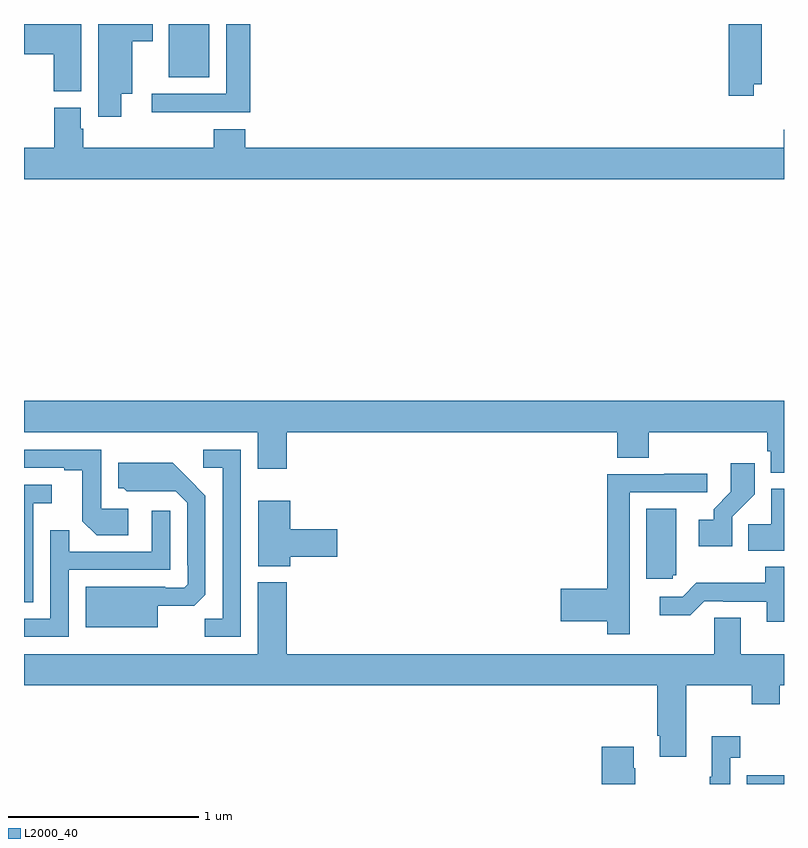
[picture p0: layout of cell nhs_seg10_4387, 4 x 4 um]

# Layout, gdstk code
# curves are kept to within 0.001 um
import gdstk
lib = gdstk.Library(unit=1e-6, precision=1e-09)
def R(c, l, rs):  # rectangles x0, y0, x1, y1
    for r in rs: c.add(gdstk.rectangle(r[:2], r[2:], *l))
def P(c, l, *ps):  # polygons
    for p in ps: c.add(gdstk.Polygon(p, *l))
L2000_40 = (2000, 40)

nhs_seg10_4387 = lib.new_cell('nhs_seg10_4387')
R(nhs_seg10_4387, L2000_40, [(362.803,1262.5,363,1262.547), (359.762,1266.221,359.974,1266.5)])
P(nhs_seg10_4387, L2000_40, [(359.512,1266.134),(359.569,1266.134),(359.569,1266.41),(359.677,1266.41),(359.677,1266.5),(359.39,1266.5),(359.39,1266.012),(359.512,1266.012)],
  [(359.302,1266.5),(359,1266.5),(359,1266.341),(359.156,1266.341),(359.156,1266.145),(359.302,1266.145)],
  [(362.842,1266.182),(362.883,1266.182),(362.883,1266.5),(362.708,1266.5),(362.708,1266.123),(362.842,1266.123)],
  [(360.191,1266.5),(360.065,1266.5),(360.065,1266.132),(359.673,1266.132),(359.673,1266.035),(360.191,1266.035)],
  [(363,1265.944),(362.999,1265.944),(362.999,1265.848),(360.164,1265.848),(360.164,1265.947),(359.999,1265.947),(359.999,1265.848),(359.312,1265.848),(359.312,1265.949),(359.299,1265.949),(359.299,1266.06),(359.159,1266.06),(359.159,1265.848),(359,1265.848),(359,1265.684),(363,1265.684)],
  [(363,1264.516),(359,1264.516),(359,1264.352),(360.23,1264.352),(360.23,1264.158),(360.383,1264.158),(360.383,1264.352),(362.123,1264.352),(362.123,1264.216),(362.288,1264.216),(362.288,1264.352),(362.911,1264.352),(362.911,1264.251),(362.931,1264.251),(362.931,1264.139),(363,1264.139)],
  [(359.548,1263.948),(359.406,1263.948),(359.406,1264.26),(359,1264.26),(359,1264.164),(359.213,1264.164),(359.213,1264.152),(359.307,1264.152),(359.307,1263.884),(359.383,1263.808),(359.548,1263.808)],
  [(360.141,1264.26),(359.943,1264.26),(359.943,1264.164),(360.045,1264.164),(360.045,1263.371),(359.95,1263.371),(359.95,1263.276),(360.141,1263.276)],
  [(359.704,1263.437),(359.896,1263.437),(359.955,1263.496),(359.955,1264.018),(359.783,1264.192),(359.495,1264.192),(359.495,1264.056),(359.526,1264.056),(359.542,1264.04),(359.799,1264.041),(359.859,1263.981),(359.859,1263.652),(359.862,1263.652),(359.862,1263.552),(359.844,1263.534),(359.744,1263.534),(359.744,1263.538),(359.324,1263.538),(359.324,1263.326),(359.704,1263.326)],
  [(362.727,1263.907),(362.846,1264.026),(362.846,1264.189),(362.721,1264.189),(362.721,1264.037),(362.63,1263.947),(362.63,1263.892),(362.55,1263.892),(362.55,1263.752),(362.727,1263.752)],
  [(362.188,1263.51),(362.187,1263.51),(362.187,1264.035),(362.596,1264.035),(362.596,1264.134),(362.371,1264.134),(362.371,1264.131),(362.071,1264.131),(362.071,1263.527),(361.824,1263.527),(361.824,1263.356),(362.071,1263.356),(362.071,1263.288),(362.188,1263.288)],
  [(359.049,1263.977),(359.146,1263.977),(359.146,1264.074),(359,1264.074),(359,1263.457),(359.049,1263.457)],
  [(363,1264.054),(362.933,1264.054),(362.933,1263.866),(362.812,1263.866),(362.812,1263.728),(363,1263.728)],
  [(360.4,1263.695),(360.649,1263.695),(360.649,1263.842),(360.4,1263.842),(360.4,1263.991),(360.233,1263.991),(360.233,1263.647),(360.4,1263.647)],
  [(362.415,1263.6),(362.434,1263.6),(362.434,1263.949),(362.276,1263.949),(362.276,1263.579),(362.415,1263.579)],
  [(359.235,1263.627),(359.769,1263.627),(359.769,1263.937),(359.673,1263.937),(359.673,1263.723),(359.237,1263.723),(359.237,1263.836),(359.139,1263.836),(359.139,1263.369),(359,1263.369),(359,1263.276),(359.235,1263.276)],
  [(363,1263.643),(362.902,1263.643),(362.902,1263.559),(362.539,1263.559),(362.466,1263.486),(362.346,1263.486),(362.346,1263.389),(362.507,1263.389),(362.58,1263.462),(362.68,1263.462),(362.68,1263.459),(362.909,1263.459),(362.909,1263.354),(363,1263.354)],
  [(360.23,1263.562),(360.23,1263.184),(359,1263.184),(359,1263.02),(362.333,1263.02),(362.333,1262.755),(362.345,1262.755),(362.345,1262.643),(362.485,1262.643),(362.485,1263.02),(362.83,1263.02),(362.83,1262.921),(362.977,1262.921),(362.977,1263.02),(363,1263.02),(363,1263.184),(362.773,1263.184),(362.773,1263.374),(362.634,1263.374),(362.634,1263.184),(360.383,1263.184),(360.383,1263.562)],
  [(362.718,1262.639),(362.77,1262.639),(362.77,1262.752),(362.621,1262.752),(362.621,1262.539),(362.61,1262.539),(362.61,1262.5),(362.718,1262.5)],
  [(362.217,1262.582),(362.209,1262.582),(362.209,1262.695),(362.042,1262.695),(362.042,1262.5),(362.217,1262.5)])

lib.write_gds('nhs_seg10_4387.gds')
